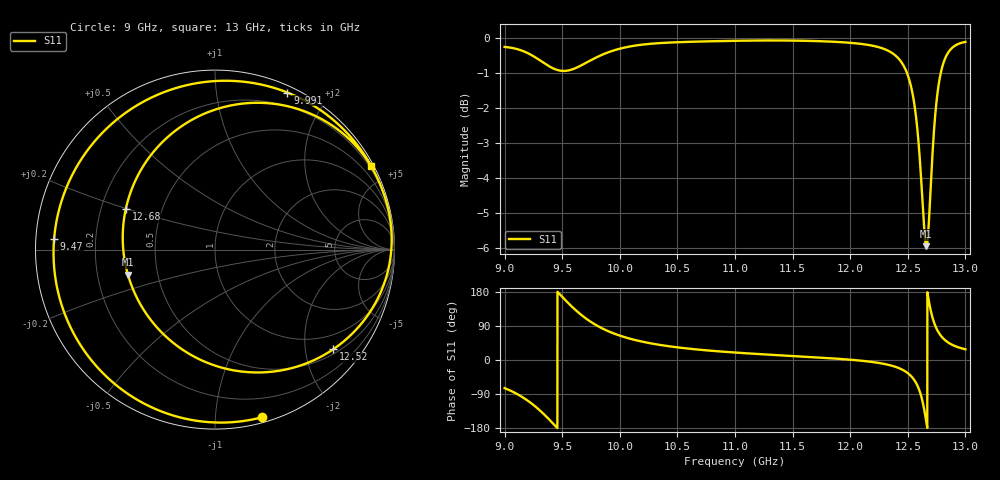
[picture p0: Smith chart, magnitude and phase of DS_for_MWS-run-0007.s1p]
! TOUCHSTONE file generated by CST DESIGN STUDIO
! Date and time: Tue Feb  4 14:29:06 2025
! Project name: C:\Work\MatlabApps\UnitCellOptimizationMatlab\CST\unitcell.cst
! Tree item: Tasks\Sweep1\SPara1\S-Parameters
! Header version: 2024
! Port assignment regex: !\s*Touchstone port\s*([0-9]+)\s*=\s*(CST MWS port|CST DES external port|CST DES block port)\s*(.+)\s* \(\"(.*)\"\)(\s*mode\s*([0-9]+))?.*
! Touchstone port assignment:
! Touchstone port 1 = CST DES external port 1 ("")
# GHz S MA R 50
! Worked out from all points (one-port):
!   4001 points, 9 GHz to 13 GHz, reference 50 ohm
!   lowest |S11| = -5.9 dB at 12.66 GHz (marker M1), VSWR 3.04, Z = 16.7 - j6.25 ohm
!   |S11| at or under -10 dB: nowhere
!   S11 on the Smith chart (normalised r, x): 9 GHz: 0.04, -1.32; 9.47 GHz: 0.05, +0.03; 9.991 GHz: 0.06, +1.56; 12.52 GHz: 0.61, -2.61; 12.68 GHz: 0.31, +0.20; 13 GHz: 0.12, +3.97
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9  0.9702 -74.2
9.144  0.9593 -96.0
9.251  0.941 -118.8
9.375  0.9129 -153.3
9.47  0.8984 176.3
9.5  0.8969 166.7
9.605  0.9035 134.8
9.707  0.9209 109.3
9.825  0.9422 86.9
9.991  0.9637 65.3
10  0.9646 64.3
10.215  0.9783 47.1
10.5  0.9852 33.4
11  0.9898 19.7
11.5  0.9906 10.5
12  0.9834 0.8
12.347  0.9548 -13.9
12.5  0.8843 -34.6
12.521  0.8615 -40.2
12.565  0.7868 -57.0
12.606  0.6659 -84.9
12.633  0.5641 -116.1
12.661  0.5049 -164.0
12.683  0.5464 155.4
12.72  0.7073 106.3
12.759  0.8372 77.2
12.85  0.9521 46.3
13  0.9862 28.2
